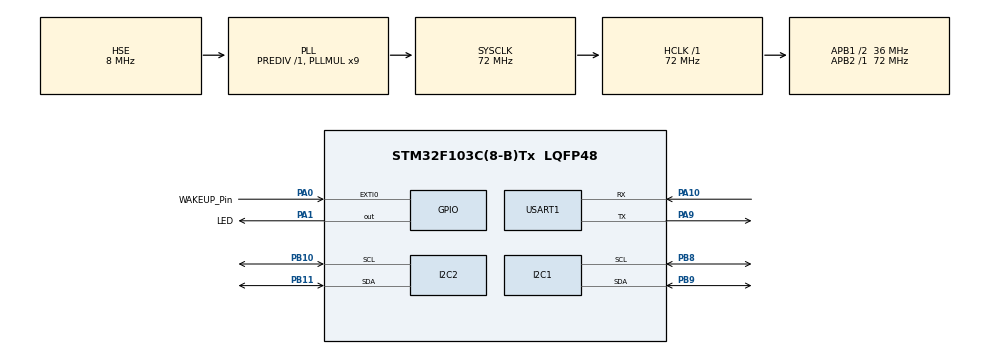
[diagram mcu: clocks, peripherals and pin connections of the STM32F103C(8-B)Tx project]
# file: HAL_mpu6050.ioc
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FREERTOS.INCLUDE_vTaskDelayUntil=1
FREERTOS.Queues01=sensorQueue,10,SensorData_t,0,Dynamic,NULL,NULL
FREERTOS.Tasks01=SensorTask,2,256,Sensor_Task,Default,NULL,Dynamic,NULL,NULL;DetectTask,1,256,Detect_Task,Default,NULL,Dynamic,NULL,NULL;CommTask,0,128,Comm_Task,Default,NULL,Dynamic,NULL,NULL;OLEDTask,-1,128,OLED_Task,Default,NULL,Dynamic,NULL,NULL
FREERTOS.configQUEUE_REGISTRY_SIZE=0
FREERTOS.configTOTAL_HEAP_SIZE=10240
I2C1.I2C_Mode=I2C_Fast
I2C2.I2C_Mode=I2C_Standard
Mcu.Family=STM32F1
Mcu.Name=STM32F103C(8-B)Tx
Mcu.Package=LQFP48
NVIC.EXTI0_IRQn=true\:5\:0\:true\:false\:true\:true\:true\:true\:true
NVIC.PriorityGroup=NVIC_PRIORITYGROUP_4
NVIC.TIM4_IRQn=true\:15\:0\:false\:false\:false\:false\:false\:true\:true
NVIC.TimeBase=TIM4_IRQn
NVIC.TimeBaseIP=TIM4
PA0-WKUP.GPIO_Label=WAKEUP_Pin
PA0-WKUP.GPIO_ModeDefaultEXTI=GPIO_MODE_IT_RISING
PA0-WKUP.GPIO_PuPd=GPIO_PULLDOWN
PA0-WKUP.Signal=GPXTI0
PA1.GPIO_Label=LED
PA1.PinState=GPIO_PIN_RESET
PA1.Signal=GPIO_Output
PA10.Mode=Asynchronous
PA10.Signal=USART1_RX
PA9.Mode=Asynchronous
PA9.Signal=USART1_TX
PB10.Mode=I2C
PB10.Signal=I2C2_SCL
PB11.Mode=I2C
PB11.Signal=I2C2_SDA
PB8.Mode=I2C
PB8.Signal=I2C1_SCL
PB9.Mode=I2C
PB9.Signal=I2C1_SDA
PC14-OSC32_IN.Mode=LSE-External-Oscillator
PC14-OSC32_IN.Signal=RCC_OSC32_IN
PC15-OSC32_OUT.Mode=LSE-External-Oscillator
PC15-OSC32_OUT.Signal=RCC_OSC32_OUT
PD0-OSC_IN.Mode=HSE-External-Oscillator
PD0-OSC_IN.Signal=RCC_OSC_IN
PD1-OSC_OUT.Mode=HSE-External-Oscillator
PD1-OSC_OUT.Signal=RCC_OSC_OUT
ProjectManager.HeapSize=0x200
ProjectManager.StackSize=0x400
ProjectManager.TargetToolchain=MDK-ARM V5.32
RCC.AHBFreq_Value=72000000
RCC.APB1CLKDivider=RCC_HCLK_DIV2
RCC.APB1Freq_Value=36000000
RCC.APB1TimFreq_Value=72000000
RCC.APB2Freq_Value=72000000
RCC.APB2TimFreq_Value=72000000
RCC.HCLKFreq_Value=72000000
RCC.PLLMUL=RCC_PLL_MUL9
RCC.PLLSourceVirtual=RCC_PLLSOURCE_HSE
RCC.SYSCLKFreq_VALUE=72000000
RCC.SYSCLKSource=RCC_SYSCLKSOURCE_PLLCLK
RCC.USBFreq_Value=72000000
USART1.VirtualMode=VM_ASYNC
VP_FREERTOS_VS_CMSIS_V1.Mode=CMSIS_V1
VP_SYS_VS_ND.Mode=No_Debug
VP_SYS_VS_tim4.Mode=TIM4
board=custom

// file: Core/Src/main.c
/* USER CODE BEGIN Header */
/**
  ******************************************************************************
  * @file           : main.c
  * @brief          : Main program body
  ******************************************************************************
  * @attention
  *
  * Copyright (c) 2026 STMicroelectronics.
  * All rights reserved.
  *
  * This software is licensed under terms that can be found in the LICENSE file
  * in the root directory of this software component.
  * If no LICENSE file comes with this software, it is provided AS-IS.
  *
  ******************************************************************************
  */
/* USER CODE END Header */
#include "main.h"
#include "cmsis_os.h"
#include "i2c.h"
#include "usart.h"
#include "gpio.h"

/* USER CODE BEGIN Includes */
#include "OLED.h"
#include "MPU6050.h"
/* USER CODE END Includes */

void SystemClock_Config(void);
void MX_FREERTOS_Init(void);

int main(void)
{

  /* MCU Configuration--------------------------------------------------------*/

  /* Reset of all peripherals, Initializes the Flash interface and the Systick. */
  HAL_Init();

  /* Configure the system clock */
  SystemClock_Config();

  /* Initialize all configured peripherals */
  MX_GPIO_Init();
  MX_I2C2_Init();
  MX_USART1_UART_Init();
  MX_I2C1_Init();

  /* Call init function for freertos objects (in cmsis_os2.c) */
  MX_FREERTOS_Init();

  /* Start scheduler */
  osKernelStart();

  /* We should never get here as control is now taken by the scheduler */

  /* Infinite loop */
  while (1)
  {

  }
}

void SystemClock_Config(void)
{
  RCC_OscInitTypeDef RCC_OscInitStruct = {0};
  RCC_ClkInitTypeDef RCC_ClkInitStruct = {0};

  /** Initializes the RCC Oscillators according to the specified parameters
  * in the RCC_OscInitTypeDef structure.
  */
  RCC_OscInitStruct.OscillatorType = RCC_OSCILLATORTYPE_HSE;
  RCC_OscInitStruct.HSEState = RCC_HSE_ON;
  RCC_OscInitStruct.HSEPredivValue = RCC_HSE_PREDIV_DIV1;
  RCC_OscInitStruct.HSIState = RCC_HSI_ON;
  RCC_OscInitStruct.PLL.PLLState = RCC_PLL_ON;
  RCC_OscInitStruct.PLL.PLLSource = RCC_PLLSOURCE_HSE;
  RCC_OscInitStruct.PLL.PLLMUL = RCC_PLL_MUL9;
  if (HAL_RCC_OscConfig(&RCC_OscInitStruct) != HAL_OK)
  {
    Error_Handler();
  }

  /** Initializes the CPU, AHB and APB buses clocks
  */
  RCC_ClkInitStruct.ClockType = RCC_CLOCKTYPE_HCLK|RCC_CLOCKTYPE_SYSCLK
                              |RCC_CLOCKTYPE_PCLK1|RCC_CLOCKTYPE_PCLK2;
  RCC_ClkInitStruct.SYSCLKSource = RCC_SYSCLKSOURCE_PLLCLK;
  RCC_ClkInitStruct.AHBCLKDivider = RCC_SYSCLK_DIV1;
  RCC_ClkInitStruct.APB1CLKDivider = RCC_HCLK_DIV2;
  RCC_ClkInitStruct.APB2CLKDivider = RCC_HCLK_DIV1;

  if (HAL_RCC_ClockConfig(&RCC_ClkInitStruct, FLASH_LATENCY_2) != HAL_OK)
  {
    Error_Handler();
  }
}

/* USER CODE BEGIN 4 */
/* 系统进入低功耗模式 */
void System_EnterStopMode(void)
{
	//MPU6050进入低功耗
	MPU6050_EnterLowPowerMode();

	//关闭不必要的外设
	__HAL_RCC_GPIOB_CLK_DISABLE();
	__HAL_RCC_GPIOC_CLK_DISABLE();

	//挂起任务调度器
	vTaskSuspendAll();

	//使用WFI指令进入休眠
	HAL_PWR_EnterSTOPMode(PWR_LOWPOWERREGULATOR_ON,PWR_STOPENTRY_WFI);

	//唤醒后执行下面代码，否则卡住
	//重新配置时钟
	SystemClock_Config();

	//重新打开外设
	__HAL_RCC_GPIOB_CLK_ENABLE();
	__HAL_RCC_GPIOC_CLK_ENABLE();

	//MPU6050退出低功耗
	MPU6050_ExitLowPowerMode();

	HAL_GPIO_WritePin(LED_GPIO_Port,LED_Pin,GPIO_PIN_SET);
	HAL_Delay(100);
	HAL_GPIO_WritePin(LED_GPIO_Port,LED_Pin,GPIO_PIN_RESET);
	HAL_Delay(100);
	HAL_GPIO_WritePin(LED_GPIO_Port,LED_Pin,GPIO_PIN_SET);
	HAL_Delay(100);
	HAL_GPIO_WritePin(LED_GPIO_Port,LED_Pin,GPIO_PIN_RESET);
	HAL_Delay(100);
	printf("退出低功耗\r\n");

	//恢复任务调度器
	xTaskResumeAll();

}
/* USER CODE END 4 */

void HAL_TIM_PeriodElapsedCallback(TIM_HandleTypeDef *htim)
{
  if (htim->Instance == TIM4)
  {
    HAL_IncTick();
  }
}

void Error_Handler(void)
{
  __disable_irq();
  while (1)
  {
  }
}

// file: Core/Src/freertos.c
/* USER CODE BEGIN Header */
/**
  ******************************************************************************
  * File Name          : freertos.c
  * Description        : Code for freertos applications
  ******************************************************************************
  * @attention
  *
  * Copyright (c) 2026 STMicroelectronics.
  * All rights reserved.
  *
  * This software is licensed under terms that can be found in the LICENSE file
  * in the root directory of this software component.
  * If no LICENSE file comes with this software, it is provided AS-IS.
  *
  ******************************************************************************
  */
/* USER CODE END Header */

#include "FreeRTOS.h"
#include "task.h"
#include "main.h"
#include "cmsis_os.h"

/* USER CODE BEGIN Includes */
#include "MPU6050.h"
#include "my_task.h"

/* USER CODE END Includes */

osThreadId SensorTaskHandle;
osThreadId DetectTaskHandle;
osThreadId CommTaskHandle;
osThreadId OLEDTaskHandle;
osMessageQId sensorQueueHandle;

void Sensor_Task(void const * argument);
void Detect_Task(void const * argument);
void Comm_Task(void const * argument);
void OLED_Task(void const * argument);

void MX_FREERTOS_Init(void); /* (MISRA C 2004 rule 8.1) */

/* GetIdleTaskMemory prototype (linked to static allocation support) */
void vApplicationGetIdleTaskMemory( StaticTask_t **ppxIdleTaskTCBBuffer, StackType_t **ppxIdleTaskStackBuffer, uint32_t *pulIdleTaskStackSize );

/* USER CODE BEGIN GET_IDLE_TASK_MEMORY */
static StaticTask_t xIdleTaskTCBBuffer;
static StackType_t xIdleStack[configMINIMAL_STACK_SIZE];

void vApplicationGetIdleTaskMemory( StaticTask_t **ppxIdleTaskTCBBuffer, StackType_t **ppxIdleTaskStackBuffer, uint32_t *pulIdleTaskStackSize )
{
  *ppxIdleTaskTCBBuffer = &xIdleTaskTCBBuffer;
  *ppxIdleTaskStackBuffer = &xIdleStack[0];
  *pulIdleTaskStackSize = configMINIMAL_STACK_SIZE;
  /* place for user code */
}
/* USER CODE END GET_IDLE_TASK_MEMORY */

void MX_FREERTOS_Init(void) {

  /* Create the queue(s) */
  /* definition and creation of sensorQueue */
  osMessageQDef(sensorQueue, 10, SensorData_t);
  sensorQueueHandle = osMessageCreate(osMessageQ(sensorQueue), NULL);

  /* USER CODE BEGIN RTOS_QUEUES */
  extern SensorData_t queue_data;

  /* add queues, ... */
  /* USER CODE END RTOS_QUEUES */

  /* Create the thread(s) */
  /* definition and creation of SensorTask */
  osThreadDef(SensorTask, Sensor_Task, osPriorityHigh, 0, 256);
  SensorTaskHandle = osThreadCreate(osThread(SensorTask), NULL);

  /* definition and creation of DetectTask */
  osThreadDef(DetectTask, Detect_Task, osPriorityAboveNormal, 0, 256);
  DetectTaskHandle = osThreadCreate(osThread(DetectTask), NULL);

  /* definition and creation of CommTask */
  osThreadDef(CommTask, Comm_Task, osPriorityNormal, 0, 128);
  CommTaskHandle = osThreadCreate(osThread(CommTask), NULL);

  /* definition and creation of OLEDTask */
  osThreadDef(OLEDTask, OLED_Task, osPriorityBelowNormal, 0, 128);
  OLEDTaskHandle = osThreadCreate(osThread(OLEDTask), NULL);

}

/* USER CODE BEGIN Header_Sensor_Task */
/**
  * @brief  Function implementing the SensorTask thread.
  * @param  argument: Not used
  * @retval None
  */
//传感器数据采集任务,采集频率50Hz
/* USER CODE END Header_Sensor_Task */
void Sensor_Task(void const * argument)
{
  /* USER CODE BEGIN Sensor_Task */
  /* Infinite loop */
  for(;;)
  {
	Sensor_task();
  }
  /* USER CODE END Sensor_Task */
}

/* USER CODE BEGIN Header_Detect_Task */
/**
* @brief Function implementing the DetectTask thread.
* @param argument: Not used
* @retval None
*/
//摔倒检测核心算法
/* USER CODE END Header_Detect_Task */
void Detect_Task(void const * argument)
{
  /* USER CODE BEGIN Detect_Task */
  /* Infinite loop */
	for(;;)
	{
		Detect_task();
	}
  /* USER CODE END Detect_Task */
}

/* USER CODE BEGIN Header_Comm_Task */
/**
* @brief Function implementing the CommTask thread.
* @param argument: Not used
* @retval None
*/
//通讯任务
/* USER CODE END Header_Comm_Task */
void Comm_Task(void const * argument)
{
  /* USER CODE BEGIN Comm_Task */
  /* Infinite loop */
  for(;;)
  {
	  Comm_task();
  }
  /* USER CODE END Comm_Task */
}

/* USER CODE BEGIN Header_OLED_Task */
/**
* @brief Function implementing the OLEDTask thread.
* @param argument: Not used
* @retval None
*/
//显示任务
/* USER CODE END Header_OLED_Task */
void OLED_Task(void const * argument)
{
  /* USER CODE BEGIN OLED_Task */
  /* Infinite loop */
  for(;;)
  {
	  OLED_task();
  }
  /* USER CODE END OLED_Task */
}
